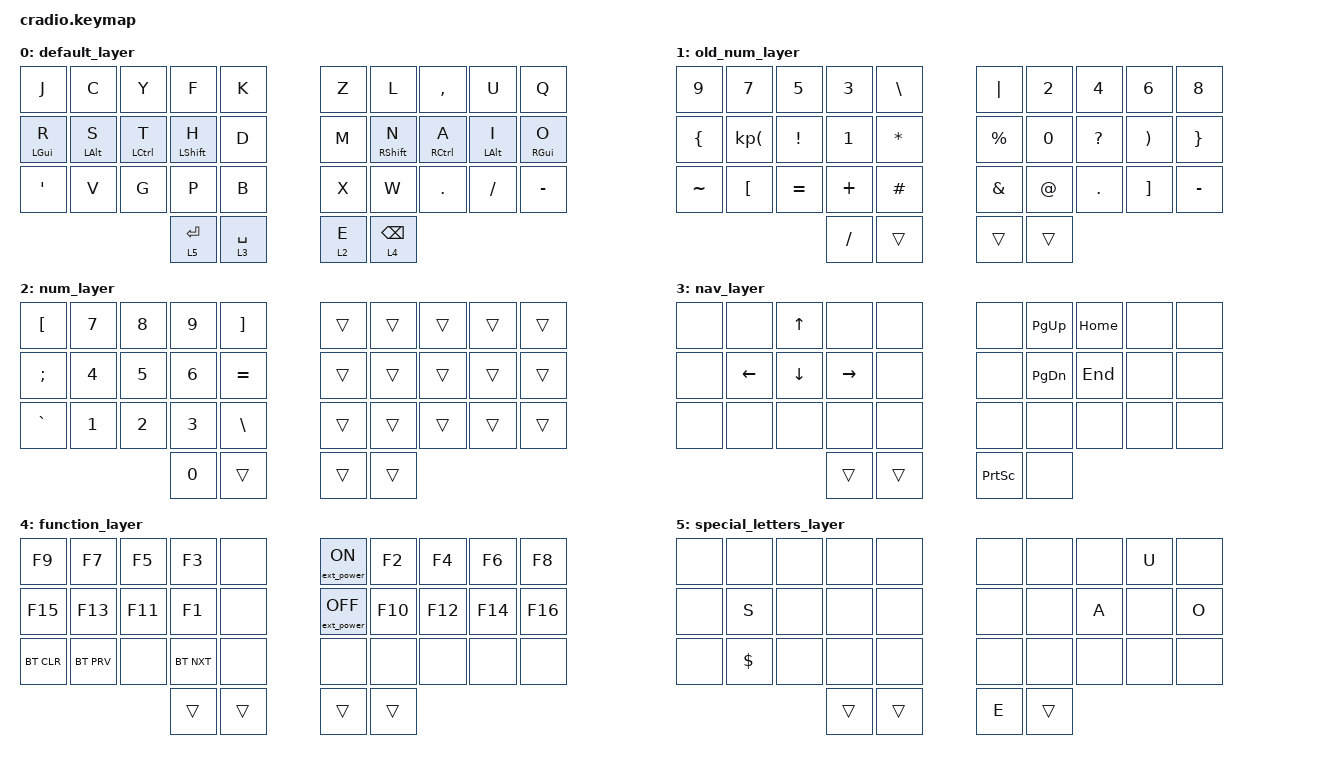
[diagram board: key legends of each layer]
/*
 * Copyright (c) 2020 The ZMK Contributors
 *
 * SPDX-License-Identifier: MIT
 */

#include <dt-bindings/zmk/ext_power.h>
#include <behaviors.dtsi>
#include <dt-bindings/zmk/keys.h>
#include <dt-bindings/zmk/bt.h>
//#include "german_keymap.h"


//test

&mt {
   flavor = "tap-preferred";
   tapping_term_ms = <200>;
};

/ { 

// 0  1  2  3  4    5  6  7  8  9 
// 10 11 12 13 14   15 16 17 18 19 
// 20 21 22 23 24   25 26 27 28 29 
//          31 32   33 34

//test123

    combos {
        compatible = "zmk,combos";
        combo_esc {
            timeout-ms = <25>;
            key-positions = <4 14>;
            bindings = <&kp ESC>;
        };
        
         combo_tab {
            timeout-ms = <25>;
            key-positions = <3 13>;
            bindings = <&kp TAB>;
        };
        
        combo_caps_lock {
            timeout-ms = <25>;
            key-positions = <5 15>;
            bindings = <&kp CAPSLOCK>;
        };
        
       combo_voldown {
            timeout-ms = <25>;
            key-positions = <23 24>;
            bindings = <&kp C_VOL_DN>;
        };

       combo_volup {
            timeout-ms = <25>;
            key-positions = <3 4>;
            bindings = <&kp C_VOL_UP>;
        };

       combo_play_pause {
            timeout-ms = <25>;
            key-positions = <21 22>;
            bindings = <&kp C_PLAY_PAUSE>;
        };

       combo_caps_word {
            timeout-ms = <25>;
            key-positions = <6 16>;
            bindings = <&caps_word>;
        };

       combo_F23 {
            timeout-ms = <25>;
            key-positions = <21 22 23>;
            bindings = <&kp F23>;
        };

       combo_quicktab {
            timeout-ms = <25>;
            key-positions = <14 24>;
            bindings = <&kp RA(TAB)>;
        };
            
       combo_quote {
            timeout-ms = <25>;
            key-positions = <20 21>;
            bindings = <&kp DOUBLE_QUOTES>;
        };
        

         combo_lsuper {timeout-ms = <25>; key-positions = <10 20>; bindings = <&kp LGUI>;};
         combo_lalt {timeout-ms = <25>; key-positions = <11 21>; bindings = <&kp LALT>;};
         combo_lctrl {timeout-ms = <25>; key-positions = <12 22>; bindings = <&kp LCTRL>;};
         combo_lshift {timeout-ms = <25>; key-positions = <13 23>; bindings = <&kp LSHIFT>;};

         combo_rsuper {timeout-ms = <25>; key-positions = <19 29>; bindings = <&kp RGUI>;};
         combo_ralt {timeout-ms = <25>; key-positions = <18 28>; bindings = <&kp RALT>;};
         combo_rctrl {timeout-ms = <25>; key-positions = <17 27>; bindings = <&kp RCTRL>;};
         combo_rshift {timeout-ms = <25>; key-positions = <16 26>; bindings = <&kp RSHIFT>;};

        


    };

        keymap {
                compatible = "zmk,keymap";
                
       		default_layer {
		bindings = <
		&kp J &kp C &kp Y &kp F &kp K 				&kp Z &kp L  &kp COMMA  &kp U   &kp Q
        &mt LGUI R &mt LALT S &mt LCTRL T &mt LSHIFT H &kp D           &kp M &mt RSHIFT N &mt RCTRL A &mt LALT I &mt RGUI O
		&kp SINGLE_QUOTE &kp V &kp G &kp P &kp B			        &kp X &kp W  &kp DOT &kp SLASH  &kp MINUS
          				&lt 5 ENTER &lt 3 SPC  					&lt 2 E &lt 4 BSPC
		>;
		};

       		old_num_layer {
		bindings = <
		&kp NUM_9  &kp NUM_7    &kp NUM_5    &kp NUM_3    &kp BACKSLASH 	&kp PIPE &kp NUM_2 &kp NUM_4 &kp NUM_6 &kp NUM_8 
		&kp LEFT_BRACE    &kp KP_LPAR    &kp EXCL  &kp NUM_1   &kp ASTERISK 	&kp PERCENT &kp NUM_0  &kp QUESTION &kp RPAR  &kp RIGHT_BRACE 
		&kp TILDE   &kp LEFT_BRACKET 	&kp EQUAL &kp PLUS  &kp HASH 	       &kp AMPERSAND &kp AT &kp DOT &kp RIGHT_BRACKET &kp MINUS 
					    &kp SLASH  &trans  					&trans &trans 
		>;
		};

        	num_layer {
		bindings = <
		&kp LEFT_BRACKET  &kp NUM_7   &kp NUM_8    &kp NUM_9    &kp RIGHT_BRACKET		  &trans &trans &trans &trans &trans 
		&kp SEMICOLON  &kp NUM_4   &kp NUM_5  &kp NUM_6   &kp EQUAL                	       &trans &trans &trans &trans &trans 
		&kp GRAVE  &kp NUM_1 	&kp NUM_2  &kp NUM_3  &kp BACKSLASH 	                   &trans &trans &trans &trans &trans 
					    &kp NUM_0  &trans  					                              &trans &trans 
		>;
		};
		
		    nav_layer {
		bindings = <
		&none  &none &kp UP_ARROW &none &none 			            &none  &kp PAGE_UP &kp HOME &none &none 
		&none  &kp LEFT_ARROW  &kp DOWN_ARROW  &kp RIGHT_ARROW  &none    &none &kp PAGE_DOWN &kp END  &none  &none
		&none  &none &none &none   &none    			&none &none &none &none  &none
					  &trans &trans  				&kp PRINTSCREEN  &none 
		>;
		};	
		
		    function_layer {
		bindings = <
		&kp F9  &kp F7    &kp F5    &kp F3    &none 			&ext_power EP_ON &kp F2   &kp F4   &kp F6  &kp F8
		&kp F15 &kp F13 &kp F11 &kp F1 &none  						&ext_power EP_OFF &kp F10  &kp F12 &kp F14 &kp F16 
		&bt BT_CLR  &bt BT_PRV &none &bt BT_NXT &none   				&none &none  &none  &none &none   
					 &trans &trans  					&trans &trans 
		>;
		};	
    
        special_letters_layer {
		bindings = <
		&none  &none    &none    &none    &none 			&none &none   &none   &kp U  &none
		&none &kp S &none &none &none  						&none &none  &kp A &none &kp O 
		&none  &kp DOLLAR &none &none &none   				&none &none  &none  &none &none   
					 &trans &trans  					&kp E &trans 
		>;
		};	
         	
	};
};
